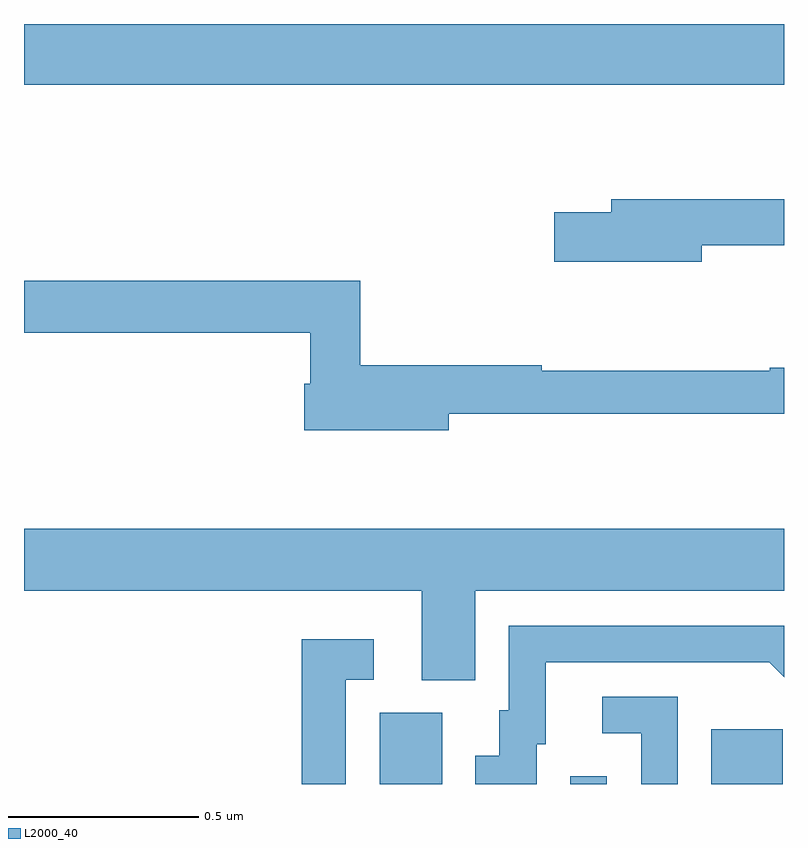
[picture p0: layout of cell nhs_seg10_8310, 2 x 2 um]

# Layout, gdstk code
import gdstk
lib = gdstk.Library(unit=1e-6, precision=1e-09)
def R(c, l, rs):  # rectangles x0, y0, x1, y1
    for r in rs: c.add(gdstk.rectangle(r[:2], r[2:], *l))
def P(c, l, *ps):  # polygons
    for p in ps: c.add(gdstk.Polygon(p, *l))
L2000_40 = (2000, 40)

nhs_seg10_8310 = lib.new_cell('nhs_seg10_8310')
R(nhs_seg10_8310, L2000_40, [(215.936,1274.5,216.1,1274.688), (216.438,1274.5,216.534,1274.521), (216.809,1274.5,216.997,1274.644), (215,1276.34,217,1276.5)])
P(nhs_seg10_8310, L2000_40, [(216.784,1275.918),(217,1275.918),(217,1276.039),(216.545,1276.039),(216.545,1276.005),(216.396,1276.005),(216.396,1275.875),(216.784,1275.875)],
  [(216.118,1275.474),(217,1275.474),(217,1275.595),(216.962,1275.595),(216.962,1275.587),(216.362,1275.587),(216.362,1275.602),(215.885,1275.602),(215.885,1275.824),(215,1275.824),(215,1275.688),(215.753,1275.688),(215.753,1275.553),(215.738,1275.553),(215.738,1275.431),(216.118,1275.431)],
  [(216.187,1275.008),(217,1275.008),(217,1275.172),(215,1275.172),(215,1275.008),(216.047,1275.008),(216.047,1274.773),(216.187,1274.773)],
  [(216.349,1274.604),(216.373,1274.604),(216.373,1274.82),(216.961,1274.82),(217,1274.781),(217,1274.916),(216.276,1274.916),(216.276,1274.694),(216.251,1274.694),(216.251,1274.575),(216.188,1274.575),(216.188,1274.5),(216.349,1274.5)],
  [(215.847,1274.775),(215.92,1274.775),(215.92,1274.881),(215.731,1274.881),(215.731,1274.5),(215.847,1274.5)],
  [(216.72,1274.73),(216.522,1274.73),(216.522,1274.634),(216.624,1274.634),(216.624,1274.5),(216.72,1274.5)])

lib.write_gds('nhs_seg10_8310.gds')
